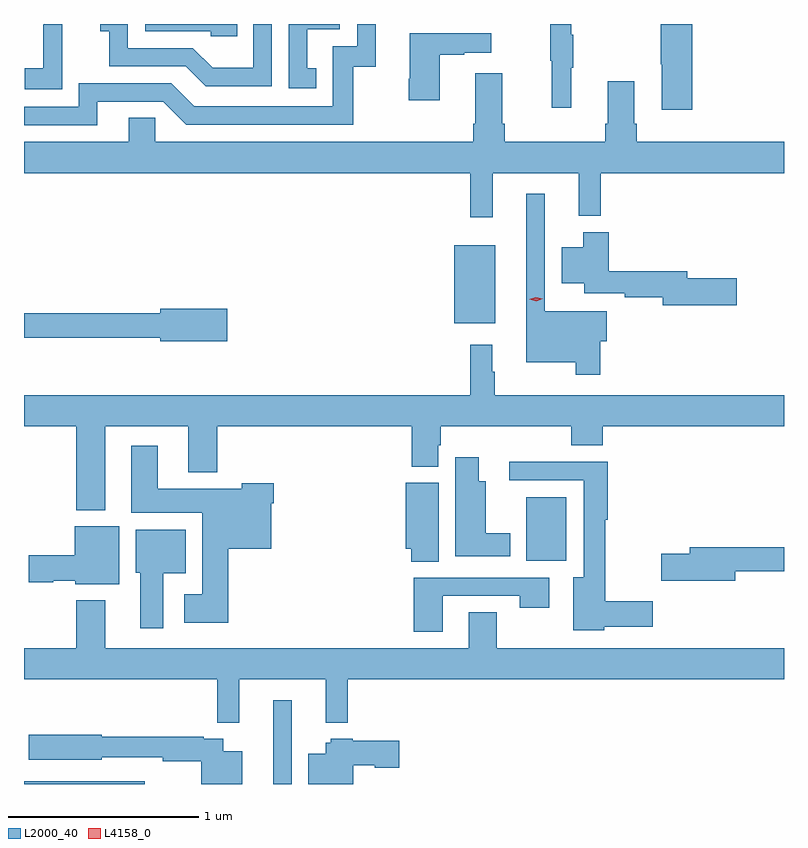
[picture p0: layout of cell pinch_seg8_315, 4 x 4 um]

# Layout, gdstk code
import gdstk
lib = gdstk.Library(unit=1e-6, precision=1e-09)
def R(c, l, rs):  # rectangles x0, y0, x1, y1
    for r in rs: c.add(gdstk.rectangle(r[:2], r[2:], *l))
def P(c, l, *ps):  # polygons
    for p in ps: c.add(gdstk.Polygon(p, *l))
L2000_40 = (2000, 40)
L4158_0 = (4158, 0)

pinch_seg8_315 = lib.new_cell('pinch_seg8_315')
R(pinch_seg8_315, L2000_40, [(592.439,1135.929,593.074,1135.944), (593.75,1135.929,593.847,1136.371), (595.082,1137.104,595.294,1137.439), (594.704,1138.355,594.919,1138.765)])
P(pinch_seg8_315, L2000_40, [(593.742,1139.929),(593.646,1139.929),(593.646,1139.698),(593.432,1139.698),(593.328,1139.802),(592.986,1139.802),(592.986,1139.929),(592.839,1139.929),(592.839,1139.891),(592.888,1139.891),(592.888,1139.706),(593.291,1139.706),(593.396,1139.601),(593.742,1139.601)],
  [(595.319,1139.699),(595.33,1139.699),(595.33,1139.873),(595.319,1139.873),(595.319,1139.929),(595.209,1139.929),(595.209,1139.736),(595.216,1139.736),(595.216,1139.487),(595.319,1139.487)],
  [(595.955,1139.929),(595.789,1139.929),(595.789,1139.716),(595.796,1139.716),(595.796,1139.478),(595.955,1139.478)],
  [(593.561,1139.929),(593.076,1139.929),(593.076,1139.892),(593.421,1139.892),(593.421,1139.865),(593.561,1139.865)],
  [(592.641,1139.791),(592.64,1139.791),(592.64,1139.929),(592.542,1139.929),(592.542,1139.924),(592.541,1139.924),(592.541,1139.695),(592.443,1139.695),(592.443,1139.585),(592.641,1139.585)],
  [(592.825,1139.52),(593.172,1139.52),(593.292,1139.4),(594.172,1139.4),(594.172,1139.703),(594.29,1139.703),(594.29,1139.929),(594.192,1139.929),(594.192,1139.811),(594.063,1139.811),(594.063,1139.496),(593.334,1139.496),(593.214,1139.616),(592.728,1139.616),(592.728,1139.493),(592.439,1139.493),(592.439,1139.397),(592.825,1139.397)],
  [(593.978,1139.697),(593.929,1139.697),(593.929,1139.901),(594.102,1139.901),(594.102,1139.929),(593.832,1139.929),(593.832,1139.592),(593.978,1139.592)],
  [(594.628,1139.767),(594.755,1139.767),(594.755,1139.777),(594.898,1139.777),(594.898,1139.881),(594.47,1139.881),(594.47,1139.641),(594.463,1139.641),(594.463,1139.529),(594.628,1139.529)],
  [(594.968,1139.404),(594.955,1139.404),(594.955,1139.671),(594.815,1139.671),(594.815,1139.404),(594.803,1139.404),(594.803,1139.308),(593.13,1139.308),(593.13,1139.435),(592.991,1139.435),(592.991,1139.308),(592.439,1139.308),(592.439,1139.144),(594.787,1139.144),(594.787,1138.911),(594.905,1138.911),(594.905,1139.144),(595.358,1139.144),(595.358,1138.919),(595.475,1138.919),(595.475,1139.144),(596.439,1139.144),(596.439,1139.308),(595.664,1139.308),(595.664,1139.404),(595.651,1139.404),(595.651,1139.629),(595.511,1139.629),(595.511,1139.404),(595.499,1139.404),(595.499,1139.308),(594.968,1139.308)],
  [(595.472,1138.259),(595.507,1138.259),(595.507,1138.417),(595.179,1138.417),(595.179,1139.035),(595.082,1139.035),(595.082,1138.148),(595.344,1138.148),(595.344,1138.083),(595.472,1138.083)],
  [(596.191,1138.592),(595.93,1138.592),(595.93,1138.628),(595.517,1138.628),(595.517,1138.834),(595.382,1138.834),(595.382,1138.753),(595.268,1138.753),(595.268,1138.565),(595.388,1138.565),(595.388,1138.512),(595.6,1138.512),(595.6,1138.492),(595.802,1138.492),(595.802,1138.45),(596.191,1138.45)],
  [(593.509,1138.43),(593.156,1138.43),(593.156,1138.406),(592.439,1138.406),(592.439,1138.278),(593.156,1138.278),(593.156,1138.259),(593.509,1138.259)],
  [(592.439,1137.812),(592.715,1137.812),(592.715,1137.371),(592.867,1137.371),(592.867,1137.812),(593.303,1137.812),(593.303,1137.569),(593.456,1137.569),(593.456,1137.812),(594.479,1137.812),(594.479,1137.599),(594.619,1137.599),(594.619,1137.711),(594.632,1137.711),(594.632,1137.812),(595.319,1137.812),(595.319,1137.713),(595.484,1137.713),(595.484,1137.812),(596.439,1137.812),(596.439,1137.976),(594.916,1137.976),(594.916,1138.1),(594.904,1138.1),(594.904,1138.24),(594.787,1138.24),(594.787,1137.976),(592.439,1137.976)],
  [(593.513,1137.167),(593.74,1137.167),(593.74,1137.407),(593.753,1137.407),(593.753,1137.511),(593.586,1137.511),(593.586,1137.484),(593.143,1137.484),(593.143,1137.709),(593.003,1137.709),(593.003,1137.356),(593.378,1137.356),(593.378,1136.929),(593.283,1136.929),(593.283,1136.777),(593.513,1136.777)],
  [(594.997,1137.25),(594.868,1137.25),(594.868,1137.523),(594.832,1137.523),(594.832,1137.649),(594.71,1137.649),(594.71,1137.128),(594.997,1137.128)],
  [(595.494,1136.756),(595.747,1136.756),(595.747,1136.891),(595.498,1136.891),(595.498,1137.321),(595.511,1137.321),(595.511,1137.626),(594.993,1137.626),(594.993,1137.528),(595.385,1137.528),(595.385,1137.016),(595.331,1137.016),(595.331,1136.738),(595.494,1136.738)],
  [(594.622,1137.514),(594.449,1137.514),(594.449,1137.167),(594.476,1137.167),(594.476,1137.1),(594.622,1137.1)],
  [(592.939,1137.286),(592.706,1137.286),(592.706,1137.134),(592.464,1137.134),(592.464,1136.992),(592.593,1136.992),(592.593,1136.999),(592.71,1136.999),(592.71,1136.981),(592.939,1136.981)],
  [(593.173,1137.038),(593.29,1137.038),(593.29,1137.268),(593.027,1137.268),(593.027,1137.042),(593.051,1137.042),(593.051,1136.748),(593.173,1136.748)],
  [(596.182,1137.048),(596.439,1137.048),(596.439,1137.176),(595.943,1137.176),(595.943,1137.14),(595.794,1137.14),(595.794,1136.998),(596.182,1136.998)],
  [(594.643,1136.919),(595.048,1136.919),(595.048,1136.856),(595.204,1136.856),(595.204,1137.015),(594.491,1137.015),(594.491,1136.73),(594.643,1136.73)],
  [(593.573,1136.48),(594.026,1136.48),(594.026,1136.252),(594.143,1136.252),(594.143,1136.48),(596.439,1136.48),(596.439,1136.644),(594.927,1136.644),(594.927,1136.834),(594.779,1136.834),(594.779,1136.644),(592.867,1136.644),(592.867,1136.896),(592.715,1136.896),(592.715,1136.644),(592.439,1136.644),(592.439,1136.48),(593.455,1136.48),(593.455,1136.251),(593.573,1136.251)],
  [(593.587,1136.101),(593.488,1136.101),(593.488,1136.166),(593.384,1136.166),(593.384,1136.179),(592.848,1136.179),(592.848,1136.187),(592.464,1136.187),(592.464,1136.057),(592.848,1136.057),(592.848,1136.07),(593.17,1136.07),(593.17,1136.05),(593.372,1136.05),(593.372,1135.929),(593.587,1135.929)],
  [(594.172,1136.027),(594.285,1136.027),(594.285,1136.015),(594.415,1136.015),(594.415,1136.157),(594.168,1136.157),(594.168,1136.167),(594.054,1136.167),(594.054,1136.145),(594.026,1136.145),(594.026,1136.089),(593.936,1136.089),(593.936,1135.929),(594.172,1135.929)])
P(pinch_seg8_315, L4158_0, [(595.134,1138.471),(595.098,1138.48),(595.098,1138.48),(595.098,1138.48),(595.133,1138.491),(595.168,1138.482),(595.169,1138.482),(595.168,1138.482)])

lib.write_gds('pinch_seg8_315.gds')
